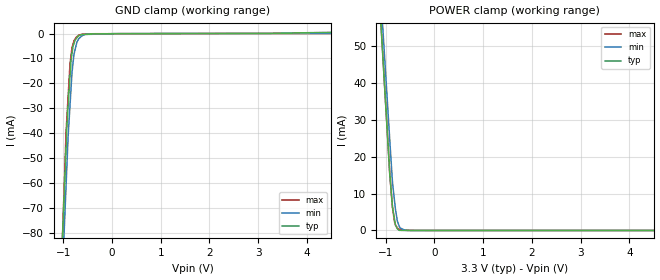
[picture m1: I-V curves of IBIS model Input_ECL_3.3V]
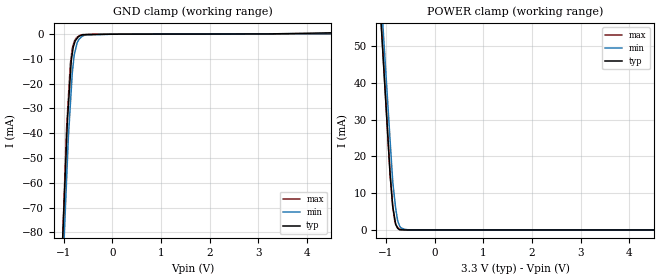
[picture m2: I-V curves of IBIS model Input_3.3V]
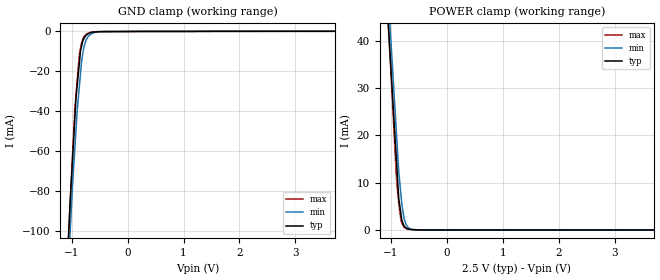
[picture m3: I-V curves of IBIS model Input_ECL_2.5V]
|COPYRIGHT(C) TERASPEED CONSULTING GROUP LLC 2003 ALL
|RIGHTS RESERVED. THIS WORK CONTAINS PROPRIETARY
|INFORMATION WHICH IS THE PROPERTY OF TERASPEED
|CONSULTING GROUP LLC OR ITS LICENSORS. USE OF THESE
|MATERIALS IS SUBJECT TO THE TERMS BELOW.
|USE: TERASPEED HAS LICENSED IBIS MODELS TO
|SPECIFIC INTEGRATED CIRCUIT SUPPLIERS ("IC VENDORS")
|FOR USE AND DISTRIBUTION AS FOLLOWS: EACH IC VENDOR
|MAY USE IBIS MODELS, AND DISTRIBUTE THEM TO IC VENDOR'S
|CUSTOMERS TO USE, SOLELY FOR DEVELOPING PRINTED
|CIRCUIT BOARD DESIGNS. NO OTHER USE OR DISTRIBUTION
|OF THESE MATERIALS IS PERMITTED.
|DISCLAIMER OF WARRANTY:  UNLESS OTHERWISE AGREED
|IN WRITING, TERASPEED SOFTWARE AND ASSOCIATED
|FILES ARE PROVIDED "AS IS" AND WITHOUT WARRANTY.
|TERASPEED HAS NO OBLIGATION TO SUPPORT OR
|OTHERWISE MAINTAIN SOFTWARE.  TERASPEED MAKES
|NO WARRANTIES, EXPRESS OR IMPLIED WITH RESPECT TO
|SOFTWARE INCLUDING ANY WARRANTY OF MERCHANTABILITY
|OR FITNESS FOR A PARTICULAR PURPOSE.
|LIMITATION OF LIABILITY:  TERASPEED IS NOT LIABLE FOR
|ANY PROPERTY DAMAGE, PERSONAL INJURY, LOSS OF PROFITS,
|INTERRUPTION OF BUSINESS, OR FOR ANY OTHER SPECIAL,
|CONSEQUENTIAL OR INCIDENTAL DAMAGES, HOWEVER CAUSED,
|WHETHER FOR BREACH OF WARRANTY, CONTRACT, TORT
|(INCLUDING NEGLIGENCE), STRICT LIABILITY OR OTHERWISE. IN NO
|EVENT SHALL TERASPEED'S LIABILITY EXCEED THE AMOUNT
|PAID FOR THE PRODUCT GIVING RISE TO THE CLAIM.
|TRADEMARKS:  THE FOLLOWING ARE REGISTERED TRADEMARKS
|OR SERVICE MARKS OF TERASPEED CONSULTING GROUP LLC:
|THE FOLLOWING ARE TRADEMARKS OR SERVICE MARKS OF
|TERASPEED CONSULTING GROUP LLC:
|ALL OTHER BRANDS AND PRODUCT NAMES ARE TRADEMARKS OF
|THEIR RESPECTIVE OWNERS
|COPIES:  ALL COPIES OF SOFTWARE, INCLUDING BUT NOT LIMITED
|TO ANY MODIFICATIONS, ENHANCEMENTS OR DERIVATIVE WORKS
|MUST CONTAIN ALL TERASPEED'S NOTICES AND LEGENDS,
|INCLUDING THOSE EMBEDDED IN SOFTWARE AND THOSE AFFIXED
|TO THE SOFTWARE MEDIUM AND CONTAINER, AS RECEIVED FROM
|TERASPEED.
[IBIS Ver] 3.2
[File Name] nbsg53aba.ibs
[File Rev] 3
[Source] Measured and created by Teraspeed Consulting Group LLC
[Date]  05-09-2003
[Notes] Quality Check of this IBIS model: Model Passes IBIS Check. Model
   parses into ICX IS. Model Simulates correctly with HyperLynx.
[Copyright]
|COPYRIGHT(C) TERASPEED CONSULTING GROUP LLC 2003 ALL
|RIGHTS RESERVED. THIS WORK CONTAINS PROPRIETARY
|INFORMATION WHICH IS THE PROPERTY OF TERASPEED
|CONSULTING GROUP LLC OR ITS LICENSORS. USE OF THESE
|MATERIALS IS SUBJECT TO THE TERMS BELOW.
|USE: TERASPEED HAS LICENSED IBIS MODELS TO
|SPECIFIC INTEGRATED CIRCUIT SUPPLIERS ("IC VENDORS")
|FOR USE AND DISTRIBUTION AS FOLLOWS: EACH IC VENDOR
|MAY USE IBIS MODELS, AND DISTRIBUTE THEM TO IC VENDOR'S
|CUSTOMERS TO USE, SOLELY FOR DEVELOPING PRINTED
|CIRCUIT BOARD DESIGNS. NO OTHER USE OR DISTRIBUTION
|OF THESE MATERIALS IS PERMITTED.
[Component] NBSG53ABA_ECL
[Manufacturer] OnSemiconductor
[Package]
| variable   typ   min   max
R_pkg  0.151ohms 0.151ohms 0.151ohms
L_pkg  1.701nH   1.701nH   1.701nH
C_pkg  1.097pF   1.097pF   1.097pF
[Pin] signal_name  model_name  R_pin  L_pin C_pin
A1  _VTD   POWER
A2  _D   INDEX_INPUT_ECL
A3  D   INDEX_INPUT_ECL
A4  VTD   NC
B1  CLK   INDEX_INPUT_ECL
B2  VTCLK   POWER
B3  VCC   POWER
B4  Q   INDEX_OUTPUT_ECL
C1  _CLK   INDEX_INPUT_ECL
C2  _VTCLK  POWER
C3  VEE   POWER
C4  _Q   INDEX_OUTPUT_ECL
D1  VCC   POWER
D2  R   INDEX_INPUT
D3  SEL   INDEX_INPUT
D4  OLS   INDEX_INPUT
[Diff Pin] inv_pin vdiff tdelay_typ tdelay_min tdelay_max
A3 A2 200mV NA NA NA
B1 C1 200mV NA NA NA
B4 C4 NA NA NA NA
[Series Pin Mapping] pin_2  model_name  function_table_group
A2   A1   Series_50
A3   A4   Series_50
B1   B2   Series_50
C1   C2   Series_50
[Model Selector]  INDEX_INPUT_ECL
Input_ECL_3.3V   3.3V Power ECL input.
Input_ECL_2.5V   2.5V Power ECL input.
[Model Selector]  INDEX_OUTPUT_ECL
Output_3.3V_800mV   3.3V Power with an 800mV swing on the output.
Output_3.3V_600mV   3.3V Power with an 600mV swing on the output.
Output_3.3V_400mV   3.3V Power with an 400mV swing on the output.
Output_3.3V_200mV   3.3V Power with an 200mV swing on the output.
Output_2.5V_800mV   2.5V Power with an 800mV swing on the output.
Output_2.5V_600mV   2.5V Power with an 600mV swing on the output.
Output_2.5V_400mV   2.5V Power with an 400mV swing on the output.
Output_2.5V_200mV   2.5V Power with an 200mV swing on the output.
| * Part can be configured for single ended operation. *
[Component] NBSG53ABA_SINGLE
[Manufacturer] OnSemiconductor
[Package]
| variable   typ   min   max
R_pkg  0.151ohms 0.151ohms 0.151ohms
L_pkg  1.701nH   1.701nH   1.701nH
C_pkg  1.097pF   1.097pF   1.097pF
[Pin] signal_name  model_name  R_pin  L_pin C_pin
A1  _VTD   POWER
A2  _D   NC
A3  D   INDEX_INPUT
A4  VTD   POWER
B1  CLK   INDEX_INPUT
B2  VTCLK   POWER
B3  VCC   POWER
B4  Q   INDEX_OUTPUT_ECL
C1  _CLK   NC
C2  _VTCLK  POWER
C3  VEE   POWER
C4  _Q   INDEX_OUTPUT_ECL
D1  VCC   POWER
D2  R   INDEX_INPUT
D3  SEL   INDEX_INPUT
D4  OLS   INDEX_INPUT
[Diff Pin] inv_pin vdiff tdelay_typ tdelay_min tdelay_max
B4 C4 NA NA NA NA
[Series Pin Mapping] pin_2  model_name  function_table_group
A2   A1   Series_50
A3   A4   Series_50
B1   B2   Series_50
C1   C2   Series_50
[Model Selector]  INDEX_INPUT
Input_3.3V   3.3V Power input.
Input_2.5V   2.5V Power input.
[Model]   Series_50
Model_type   Series
C_comp   0  0  0
[Voltage Range]  3.3   3.0   3.6
[R series]   50   50   50
| Models and submodels in the file (13): Input_ECL_3.3V (Input_ECL), Input_3.3V (Input), Input_ECL_2.5V (Input_ECL), Input_2.5V (Input), Output_3.3V_800mV (Output_ECL), Output_3.3V_600mV (Output_ECL), Output_3.3V_400mV (Output_ECL), Output_3.3V_200mV (Output_ECL), Output_2.5V_800mV (Output_ECL), Output_2.5V_600mV (Output_ECL), Output_2.5V_400mV (Output_ECL), Output_2.5V_200mV (Output_ECL), Series_50 (Series)
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[Model] Input_ECL_3.3V
Model_type Input_ECL
Vinl = 1.275V
Vinh = 1.125V
C_comp 500.0fF   500.0fF   500.0fF
[Model Spec]
Vinh  1.275V  1.275V  1.275V
Vinl  1.125V  1.125V  1.125V
| variable typ   min   max
[Voltage Range]   3.30000V  3.13500V  3.46500V
[POWER Clamp Reference] 3.30000V  3.13500V  3.46500V
[GND Clamp Reference]   0.00000V  0.00000V  0.00000V
[Temperature Range] 25   85   0
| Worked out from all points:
|   GND clamp passes 1 mA (typ) near -0.69 V on its own axis
|   POWER clamp passes 1 mA (typ) near -0.78 V on its own axis
[GND Clamp]
-3.3V     -1.415A    -1.34A     -1.377A
-1.023V   -84.87mA   -99.06mA   -85.41mA
-942mV    -45.21mA   -60.81mA   -39.4mA
-921.7mV  -35.26mA   -51.22mA   -32.53mA
-901.3mV  -29.04mA   -41.61mA   -25.64mA
-861.1mV  -16.75mA   -28.61mA   -12.03mA
-841mV    -10.61mA   -22.12mA   -8.898mA
-820.9mV  -7.934mA   -15.62mA   -5.756mA
-780.5mV  -4.005mA   -8.315mA   -2.949mA
-679.2mV  -888uA     -2.011mA   -648uA
61.72mV   -57.95uA   -46.75uA   -66uA
6.6V      1.235mA    57.49uA    37.43uA
[POWER Clamp]
-3.3V     546.4mA    528.9mA    555.5mA
-1.059V   46.85mA    54.46mA    47.33mA
-918.1mV  15.34mA    24.53mA    15.28mA
-862.5mV  6.416mA    13.06mA    6.237mA
-821.7mV  3.116mA    8.172mA    2.402mA
-801.9mV  1.515mA    5.799mA    1.529mA
-761.4mV  441.8uA    2.504mA    637uA
-721.2mV  38.03uA    1.063mA    331.9uA
-700.8mV  32.66uA    638.2uA    222.6uA
-619.9mV  11.32uA    144uA      89.53uA
-497.9mV  0A         11.8uA     25.23uA
6.6V      0A         0A         0A
[Model] Input_3.3V
Model_type Input
Vinl = 1.275V
Vinh = 1.125V
C_comp 500.0fF   500.0fF   500.0fF
[Model Spec]
Vinh  1.275V  1.275V  1.275V
Vinl  1.125V  1.125V  1.125V
| variable typ   min   max
[Voltage Range]   3.30000V  3.13500V  3.46500V
[POWER Clamp Reference] 3.30000V  3.13500V  3.46500V
[GND Clamp Reference]   0.00000V  0.00000V  0.00000V
[Temperature Range] 25   85   0
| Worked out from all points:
|   GND clamp passes 1 mA (typ) near -0.69 V on its own axis
|   POWER clamp passes 1 mA (typ) near -0.78 V on its own axis
[GND Clamp]
-3.3V     -1.415A    -1.34A     -1.377A
-1.023V   -84.87mA   -99.06mA   -85.41mA
-942mV    -45.21mA   -60.81mA   -39.4mA
-921.7mV  -35.26mA   -51.22mA   -32.53mA
-901.3mV  -29.04mA   -41.61mA   -25.64mA
-861.1mV  -16.75mA   -28.61mA   -12.03mA
-841mV    -10.61mA   -22.12mA   -8.898mA
-820.9mV  -7.934mA   -15.62mA   -5.756mA
-780.5mV  -4.005mA   -8.315mA   -2.949mA
-679.2mV  -888uA     -2.011mA   -648uA
61.72mV   -57.95uA   -46.75uA   -66uA
6.6V      1.235mA    57.49uA    37.43uA
[POWER Clamp]
-3.3V     546.4mA    528.9mA    555.5mA
-1.059V   46.85mA    54.46mA    47.33mA
-918.1mV  15.34mA    24.53mA    15.28mA
-862.5mV  6.416mA    13.06mA    6.237mA
-821.7mV  3.116mA    8.172mA    2.402mA
-801.9mV  1.515mA    5.799mA    1.529mA
-761.4mV  441.8uA    2.504mA    637uA
-721.2mV  38.03uA    1.063mA    331.9uA
-700.8mV  32.66uA    638.2uA    222.6uA
-619.9mV  11.32uA    144uA      89.53uA
-497.9mV  0A         11.8uA     25.23uA
6.6V      0A         0A         0A
[Model] Input_ECL_2.5V
Model_type Input_ECL
Vinl = 1.275V
Vinh = 1.125V
C_comp 500.0fF  500.0fF  500.0fF
[Model Spec]
Vinh  1.275V  1.275V  1.275V
Vinl  1.125V  1.125V  1.125V
| variable typ   min   max
[Voltage Range]   2.50000V  2.37500V  2.62500V
[POWER Clamp Reference]  2.50000V  2.37500V  2.62500V
[GND Clamp Reference]   0.00000V  0.00000V  0.00000V
[Temperature Range]  25   85   0
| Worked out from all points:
|   GND clamp passes 1 mA (typ) near -0.69 V on its own axis
|   POWER clamp passes 1 mA (typ) near -0.77 V on its own axis
[GND Clamp]
-2.5V     -951.2mA   -900.6mA   -924.6mA
-1.023V   -83.45mA   -98.42mA   -84.05mA
-982.5mV  -63.35mA   -76.39mA   -60.96mA
-942mV    -43.26mA   -58.15mA   -37.89mA
-921.8mV  -33.22mA   -49.04mA   -31.19mA
-901.4mV  -27.3mA    -39.9mA    -24.47mA
-861.1mV  -15.53mA   -27.25mA   -11.14mA
-841mV    -9.677mA   -20.96mA   -8.233mA
-820.9mV  -7.222mA   -14.63mA   -5.313mA
-780.5mV  -3.632mA   -7.756mA   -2.645mA
-679.2mV  -828.6uA   -1.919mA   -548.7uA
5V        51.31uA    169.4uA    52.08uA
[POWER Clamp]
-2.5V     327.8mA    335.3mA    377.8mA
-1.02V    38.33mA    44.22mA    38.39mA
-959.8mV  26.5mA     32.32mA    24.51mA
-898.8mV  14.57mA    20.31mA    10.52mA
-858.5mV  6.688mA    12.39mA    5.566mA
-817.7mV  3.259mA    7.259mA    1.915mA
-803.5mV  2.065mA    5.475mA    1.442mA
-763mV    809.7uA    2.412mA    563.5uA
-722.6mV  359.9uA    1.014mA    256.3uA
-661.3mV  150.2uA    248.2uA    125.4uA
-499.5mV  14.19uA    52.88nA    25.11uA
5V        0A         0A         0A
